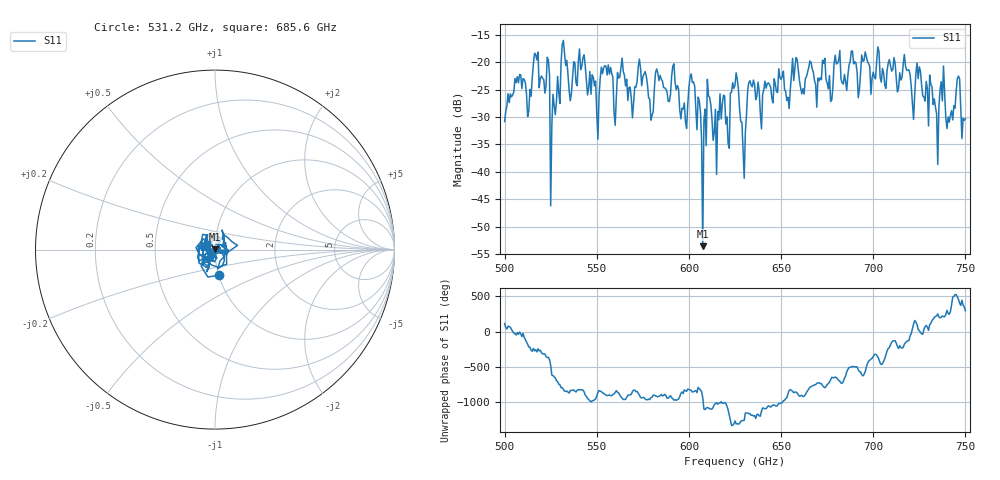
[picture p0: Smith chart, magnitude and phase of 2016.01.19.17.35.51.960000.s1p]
!Created with skrf (http://scikit-rf.org).
# GHz S RI R 50.0
!freq ReS11 ImS11
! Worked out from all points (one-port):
!   401 points, 500 GHz to 750 GHz, reference 50 ohm
!   lowest |S11| = -53.5 dB at 607.5 GHz (marker M1), VSWR 1.00, Z = 49.8 + j0.141 ohm
!   |S11| at or under -10 dB: start of sweep to end of sweep
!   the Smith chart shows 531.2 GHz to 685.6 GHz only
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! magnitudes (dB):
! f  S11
! 500 GHz  -30.8
! 506.9 GHz  -22.6
! 513.1 GHz  -28.9
! 516.9 GHz  -18.6
! 523.1 GHz  -19.1
! 526.2 GHz  -25.9
! 531.2 GHz  -16.8
! 550 GHz  -29.3
! 562.5 GHz  -22.7
! 579.4 GHz  -30.6
! 583.1 GHz  -22.0
! 593.8 GHz  -24.3
! 598.1 GHz  -30.9
! 601.9 GHz  -23.7
! 607.5 GHz  -53.5
! 611.2 GHz  -26.4
! 613.8 GHz  -32.8
! 618.1 GHz  -27.6
! 621.2 GHz  -34.8
! 625 GHz  -24.2
! 629.4 GHz  -35.9
! 633.8 GHz  -24.1
! 656.2 GHz  -19.3
! 687.5 GHz  -19.8
! 718.8 GHz  -21.5
! 734.4 GHz  -29.3
! 746.2 GHz  -22.5
! 750 GHz  -30.3
